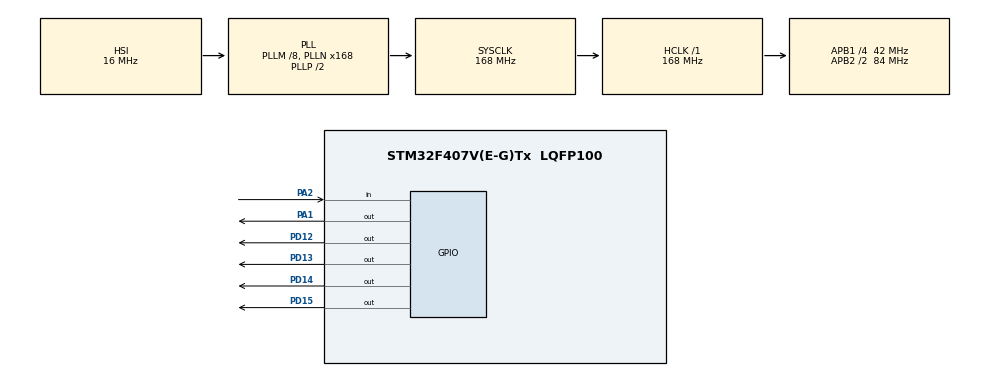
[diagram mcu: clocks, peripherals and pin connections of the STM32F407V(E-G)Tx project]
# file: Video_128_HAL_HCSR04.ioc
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Mcu.Family=STM32F4
Mcu.Name=STM32F407V(E-G)Tx
Mcu.Package=LQFP100
NVIC.PriorityGroup=NVIC_PRIORITYGROUP_4
PA1.Signal=GPIO_Output
PA2.Signal=GPIO_Input
PD12.Signal=GPIO_Output
PD13.Signal=GPIO_Output
PD14.Signal=GPIO_Output
PD15.Signal=GPIO_Output
PH0-OSC_IN.Mode=HSE-External-Oscillator
PH0-OSC_IN.Signal=RCC_OSC_IN
PH1-OSC_OUT.Mode=HSE-External-Oscillator
PH1-OSC_OUT.Signal=RCC_OSC_OUT
ProjectManager.HeapSize=0x200
ProjectManager.StackSize=0x400
ProjectManager.TargetToolchain=TrueSTUDIO
RCC.48MHZClocksFreq_Value=84000000
RCC.AHBFreq_Value=168000000
RCC.APB1CLKDivider=RCC_HCLK_DIV4
RCC.APB1Freq_Value=42000000
RCC.APB1TimFreq_Value=84000000
RCC.APB2CLKDivider=RCC_HCLK_DIV2
RCC.APB2Freq_Value=84000000
RCC.APB2TimFreq_Value=168000000
RCC.CortexFreq_Value=168000000
RCC.HCLKFreq_Value=168000000
RCC.HSE_VALUE=8000000
RCC.HSI_VALUE=16000000
RCC.LSE_VALUE=32768
RCC.PLLM=8
RCC.PLLN=168
RCC.SYSCLKFreq_VALUE=168000000
RCC.SYSCLKSource=RCC_SYSCLKSOURCE_PLLCLK
RCC.VCOOutputFreq_Value=336000000
board=custom

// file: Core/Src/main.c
/* USER CODE BEGIN Header */
/**
  ******************************************************************************
  * @file           : main.c
  * @brief          : Main program body
  ******************************************************************************
  * @attention
  *
  * <h2><center>&copy; Copyright (c) 2022 STMicroelectronics.
  * All rights reserved.</center></h2>
  *
  * This software component is licensed by ST under BSD 3-Clause license,
  * the "License"; You may not use this file except in compliance with the
  * License. You may obtain a copy of the License at:
  *                        opensource.org/licenses/BSD-3-Clause
  *
  ******************************************************************************
  */
/* USER CODE END Header */
#include "main.h"
// **************************************
// HCSR04'ün 10 mikrosaniye önce trig pininden tetiklenmesi lazým.
// mikrosaniye cinsinden tetikleme yapacak bir kütüphane gerekiyor.

/* USER CODE BEGIN Includes */
#include "dwt_stm32_delay.h"
/* USER CODE END Includes */

/* USER CODE BEGIN PV */
uint32_t time;
uint16_t distance; // en fazla 2'16 cm ölçeriz, daha fazla da ölçülebilir.
				  // datasheet'de en fazla 400 cm diyor

/* USER CODE END PV */

void SystemClock_Config(void);
static void MX_GPIO_Init(void);

/* USER CODE BEGIN 0 */

// Büyük süre olsun diye 32 bit kullanýyoruz. Bu da büyük mesafeler ölçmemizi saðlar
// HCSR04 çalýþma mantýðý bu þekilde
// Tutulan zaman 58'e bölünürse cm cinsinden uzaklýk bulunur

uint32_t Read_HCSR04()
{
	// PIN_1 trig, PIN_2 echo
	uint32_t local_time = 0; // echo'dan gelen verinin süresini tutmak istiyorum. Sonra gönderecem. 255'den falan devam etmesin tekrar baþa gelsin, o yüzden = 0 yazdýk.
	// trig pinine 10 mikrosaniye tetik vermek lazým.
	HAL_GPIO_WritePin(GPIOA, GPIO_PIN_1, GPIO_PIN_SET); // 1. pini ayarlýyorum.
	DWT_Delay_us(10);
	// Tetiklemeyi yaptýktan sonra artýk bu tetiklemenin bitmesi lazým.
	HAL_GPIO_WritePin(GPIOA, GPIO_PIN_1, GPIO_PIN_RESET);

	// echo pininden veri gelene kadar beklemek gerekir.
	while(!HAL_GPIO_ReadPin(GPIOA, GPIO_PIN_2)); // içi 0 ise 1'liyor ve bekletiyor. deðer gelirse while'den çýkýlýr.

	while(HAL_GPIO_ReadPin(GPIOA, GPIO_PIN_2))
	{
		local_time++;
		DWT_Delay_us(1);
	}
	return local_time;
}
/* USER CODE END 0 */

int main(void)
{

  /* MCU Configuration--------------------------------------------------------*/

  /* Reset of all peripherals, Initializes the Flash interface and the Systick. */
  HAL_Init();

  /* Configure the system clock */
  SystemClock_Config();

  /* Initialize all configured peripherals */
  MX_GPIO_Init();
  /* USER CODE BEGIN 2 */
  DWT_Delay_Init();
  /* USER CODE END 2 */

  /* Infinite loop */
  while (1)
  {

    /* USER CODE BEGIN 3 */
	  time = Read_HCSR04();
	  distance = time / 58;

	  if(distance < 5)
		  HAL_GPIO_WritePin(GPIOD, GPIO_PIN_12 | GPIO_PIN_13 | GPIO_PIN_14 | GPIO_PIN_15, GPIO_PIN_RESET);

	  if(distance > 5)
	  {
		  HAL_GPIO_WritePin(GPIOD, GPIO_PIN_12, GPIO_PIN_SET);
		  HAL_GPIO_WritePin(GPIOD, GPIO_PIN_13 | GPIO_PIN_14 | GPIO_PIN_15, GPIO_PIN_RESET);

	  }
	  if(distance > 10)
	  {
		  HAL_GPIO_WritePin(GPIOD, GPIO_PIN_13, GPIO_PIN_SET);
		  HAL_GPIO_WritePin(GPIOD, GPIO_PIN_12 | GPIO_PIN_14 | GPIO_PIN_15, GPIO_PIN_RESET);

	  }
	  if(distance > 20)
	  {
		  HAL_GPIO_WritePin(GPIOD, GPIO_PIN_14, GPIO_PIN_SET);
		  HAL_GPIO_WritePin(GPIOD, GPIO_PIN_13 | GPIO_PIN_12 | GPIO_PIN_15, GPIO_PIN_RESET);

	  }
	  if(distance > 40)
		  HAL_GPIO_WritePin(GPIOD, GPIO_PIN_All, GPIO_PIN_SET);

	  HAL_Delay(500); // Bilgi karmaþasýný önlemek için konulabilir.

  }
  /* USER CODE END 3 */
}

void SystemClock_Config(void)
{
  RCC_OscInitTypeDef RCC_OscInitStruct = {0};
  RCC_ClkInitTypeDef RCC_ClkInitStruct = {0};

  /** Configure the main internal regulator output voltage
  */
  __HAL_RCC_PWR_CLK_ENABLE();
  __HAL_PWR_VOLTAGESCALING_CONFIG(PWR_REGULATOR_VOLTAGE_SCALE1);
  /** Initializes the RCC Oscillators according to the specified parameters
  * in the RCC_OscInitTypeDef structure.
  */
  RCC_OscInitStruct.OscillatorType = RCC_OSCILLATORTYPE_HSI;
  RCC_OscInitStruct.HSIState = RCC_HSI_ON;
  RCC_OscInitStruct.HSICalibrationValue = RCC_HSICALIBRATION_DEFAULT;
  RCC_OscInitStruct.PLL.PLLState = RCC_PLL_ON;
  RCC_OscInitStruct.PLL.PLLSource = RCC_PLLSOURCE_HSI;
  RCC_OscInitStruct.PLL.PLLM = 8;
  RCC_OscInitStruct.PLL.PLLN = 168;
  RCC_OscInitStruct.PLL.PLLP = RCC_PLLP_DIV2;
  RCC_OscInitStruct.PLL.PLLQ = 4;
  if (HAL_RCC_OscConfig(&RCC_OscInitStruct) != HAL_OK)
  {
    Error_Handler();
  }
  /** Initializes the CPU, AHB and APB buses clocks
  */
  RCC_ClkInitStruct.ClockType = RCC_CLOCKTYPE_HCLK|RCC_CLOCKTYPE_SYSCLK
                              |RCC_CLOCKTYPE_PCLK1|RCC_CLOCKTYPE_PCLK2;
  RCC_ClkInitStruct.SYSCLKSource = RCC_SYSCLKSOURCE_PLLCLK;
  RCC_ClkInitStruct.AHBCLKDivider = RCC_SYSCLK_DIV1;
  RCC_ClkInitStruct.APB1CLKDivider = RCC_HCLK_DIV4;
  RCC_ClkInitStruct.APB2CLKDivider = RCC_HCLK_DIV2;

  if (HAL_RCC_ClockConfig(&RCC_ClkInitStruct, FLASH_LATENCY_5) != HAL_OK)
  {
    Error_Handler();
  }
}

static void MX_GPIO_Init(void)
{
  GPIO_InitTypeDef GPIO_InitStruct = {0};

  /* GPIO Ports Clock Enable */
  __HAL_RCC_GPIOH_CLK_ENABLE();
  __HAL_RCC_GPIOA_CLK_ENABLE();
  __HAL_RCC_GPIOD_CLK_ENABLE();

  /*Configure GPIO pin Output Level */
  HAL_GPIO_WritePin(GPIOA, GPIO_PIN_1, GPIO_PIN_RESET);

  /*Configure GPIO pin Output Level */
  HAL_GPIO_WritePin(GPIOD, GPIO_PIN_12|GPIO_PIN_13|GPIO_PIN_14|GPIO_PIN_15, GPIO_PIN_RESET);

  /*Configure GPIO pin : PA1 */
  GPIO_InitStruct.Pin = GPIO_PIN_1;
  GPIO_InitStruct.Mode = GPIO_MODE_OUTPUT_PP;
  GPIO_InitStruct.Pull = GPIO_NOPULL;
  GPIO_InitStruct.Speed = GPIO_SPEED_FREQ_LOW;
  HAL_GPIO_Init(GPIOA, &GPIO_InitStruct);

  /*Configure GPIO pin : PA2 */
  GPIO_InitStruct.Pin = GPIO_PIN_2;
  GPIO_InitStruct.Mode = GPIO_MODE_INPUT;
  GPIO_InitStruct.Pull = GPIO_NOPULL;
  HAL_GPIO_Init(GPIOA, &GPIO_InitStruct);

  /*Configure GPIO pins : PD12 PD13 PD14 PD15 */
  GPIO_InitStruct.Pin = GPIO_PIN_12|GPIO_PIN_13|GPIO_PIN_14|GPIO_PIN_15;
  GPIO_InitStruct.Mode = GPIO_MODE_OUTPUT_PP;
  GPIO_InitStruct.Pull = GPIO_NOPULL;
  GPIO_InitStruct.Speed = GPIO_SPEED_FREQ_LOW;
  HAL_GPIO_Init(GPIOD, &GPIO_InitStruct);

}

void Error_Handler(void)
{
  __disable_irq();
  while (1)
  {
  }
}

/************************ (C) COPYRIGHT STMicroelectronics *****END OF FILE****/
